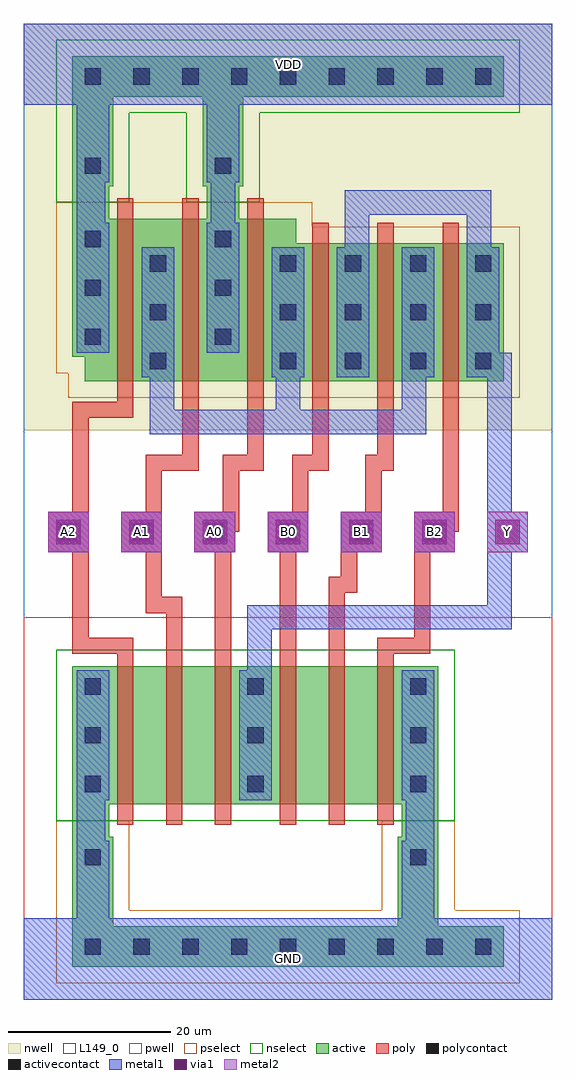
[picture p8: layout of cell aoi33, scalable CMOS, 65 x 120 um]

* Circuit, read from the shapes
.subckt aoi33 A0 A1 A2 B0 B1 B2 GND VDD Y
M1 n1 A2 GND GND nfet w=17u l=2u
M2 n2 A1 n1 GND nfet w=17u l=2u
M3 Y A0 n2 GND nfet w=17u l=2u
M4 n3 B0 Y GND nfet w=17u l=2u
M5 n4 B1 n3 GND nfet w=17u l=2u
M6 GND B2 n4 GND nfet w=17u l=2u
M7 n5 A2 VDD VDD pfet w=20u l=2u
M8 VDD A1 n5 VDD pfet w=20u l=2u
M9 n5 A0 VDD VDD pfet w=20u l=2u
M10 Y B0 n5 VDD pfet w=17u l=2u
M11 n5 B1 Y VDD pfet w=17u l=2u
M12 Y B2 n5 VDD pfet w=17u l=2u
.ends

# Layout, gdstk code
import gdstk
lib = gdstk.Library(unit=1e-6, precision=1e-09)
def R(c, l, rs):  # rectangles x0, y0, x1, y1
    for r in rs: c.add(gdstk.rectangle(r[:2], r[2:], *l))
def A(c, l, x, y, w, h, nx, ny, dx, dy):  # array of equal rectangles
    R(c, l, [(x+i*dx, y+j*dy, x+i*dx+w, y+j*dy+h) for i in range(nx) for j in range(ny)])
def P(c, l, *ps):  # polygons
    for p in ps: c.add(gdstk.Polygon(p, *l))
pwell = (41, 0)
nwell = (42, 0)
active = (43, 0)
pselect = (44, 0)
nselect = (45, 0)
poly = (46, 0)
polycontact = (47, 0)
activecontact = (48, 0)
metal1 = (49, 0)
via1 = (50, 0)
metal2 = (51, 0)
L149_0 = (149, 0)

via = lib.new_cell('via')
R(via, metal1, [(-2.5,-2.5,2.5,2.5)])
R(via, via1, [(-1.5,-1.5,1.5,1.5)])
R(via, metal2, [(-2.5,-2.5,2.5,2.5)])

aoi33 = lib.new_cell('aoi33')
R(aoi33, pwell, [(0,0,65,47), (0,18,57,47)])
R(aoi33, nwell, [(0,70,65,120)])
P(aoi33, nwell, [(65,70),(65,99),(39.5,99),(39.5,102),(0,102),(0,73),(1.5,73),(1.5,70)])
R(aoi33, active, [(6,4,59,9), (6,9,11,20), (46,9,51,20), (6,20,10.5,24), (46.5,20,51,24), (6,24,11.5,41), (6,24,51,41), (45.5,24,51,41), (53.5,76,59,93), (6,96,10.5,100), (22.5,96,26.5,100), (6,100,11,111), (22,100,27,111), (6,111,59,116)])
P(aoi33, active, [(11.5,76),(11.5,96),(6,96),(6,79),(7.5,79),(7.5,76)],
  [(59,76),(59,93),(33.5,93),(33.5,96),(6,96),(6,79),(7.5,79),(7.5,76)])
R(aoi33, pselect, [(4,2,61,11), (4,11,13,22), (44,11,53,22)])
P(aoi33, pselect, [(61,74),(61,95),(35.5,95),(35.5,98),(4,98),(4,77),(5.5,77),(5.5,74)])
R(aoi33, nselect, [(4,22,53,43), (4,98,13,109), (20,98,29,109), (4,109,61,118)])
A(aoi33, poly, 11.5, 21.5, 2, 2.5, 3, 2, 6, 19.5)
A(aoi33, poly, 31.5, 21.5, 2, 2.5, 3, 2, 6, 19.5)
A(aoi33, poly, 11.5, 24, 2, 17, 3, 1, 6, 0)
A(aoi33, poly, 31.5, 24, 2, 17, 3, 1, 6, 0)
A(aoi33, poly, 3, 55, 5, 5, 6, 1, 9, 0)
A(aoi33, poly, 11.5, 73.5, 2, 2.5, 6, 1, 8, 0)
A(aoi33, poly, 11.5, 76, 2, 20, 3, 1, 8, 0)
A(aoi33, poly, 35.5, 76, 2, 17, 3, 1, 8, 0)
A(aoi33, poly, 35.5, 93, 2, 2.5, 3, 1, 8, 0)
A(aoi33, poly, 11.5, 96, 2, 2.5, 3, 1, 8, 0)
A(aoi33, polycontact, 4.5, 56.5, 2, 2, 6, 1, 9, 0)
A(aoi33, activecontact, 7.5, 5.5, 2, 2, 9, 2, 6, 107)
A(aoi33, activecontact, 7.5, 25.5, 2, 2, 3, 3, 20, 6)
A(aoi33, activecontact, 15.5, 77.5, 2, 2, 1, 3, 0, 6)
A(aoi33, activecontact, 31.5, 77.5, 2, 2, 4, 3, 8, 6)
A(aoi33, activecontact, 7.5, 80.5, 2, 2, 1, 3, 0, 6)
A(aoi33, activecontact, 23.5, 80.5, 2, 2, 1, 3, 0, 6)
R(aoi33, activecontact, [(7.5,16.5,9.5,18.5), (47.5,16.5,49.5,18.5), (7.5,101.5,9.5,103.5), (23.5,101.5,25.5,103.5)])
A(aoi33, metal1, 6.5, 24.5, 4, 16, 3, 1, 20, 0)
A(aoi33, metal1, 21.5, 55.5, 4, 4, 4, 1, 9, 0)
A(aoi33, metal1, 30.5, 76.5, 4, 16, 4, 1, 8, 0)
R(aoi33, metal1, [(0,0,65,10), (6.5,10,10.5,19.5), (46.5,10,50.5,19.5), (6.5,19.5,10,24.5), (47,19.5,50.5,24.5), (3.5,55.5,7.5,59.5), (14.5,76.5,18.5,92.5), (6.5,79.5,10.5,95.5), (22.5,79.5,26.5,95.5), (6.5,95.5,10,100.5), (23,95.5,26,100.5), (6.5,100.5,10.5,110), (22.5,100.5,26.5,110), (0,110,65,120)])
A(aoi33, metal2, 3, 55, 5, 5, 7, 1, 9, 0)
R(aoi33, L149_0, [(0,0,65,120)])
aoi33.add(gdstk.FlexPath([(58.5,60),(58.5,79.5)], 3, ends="flush", simple_path=True, layer=49, datatype=0))  # metal1
aoi33.add(gdstk.FlexPath([(31,71),(17,71),(17,76.5)], 3, ends="flush", simple_path=True, layer=49, datatype=0))  # metal1
aoi33.add(gdstk.FlexPath([(48,76.5),(48,71),(32.5,71),(32.5,76.5)], 3, ends="flush", simple_path=True, layer=49, datatype=0))  # metal1
aoi33.add(gdstk.FlexPath([(56,92.5),(56,98),(41,98),(41,92.5)], 3, ends="flush", simple_path=True, layer=49, datatype=0))  # metal1
aoi33.add(gdstk.FlexPath([(58.5,55),(58.5,47),(29,47),(29,40.5)], 3, ends="flush", simple_path=True, layer=49, datatype=0))  # metal1
aoi33.add(gdstk.FlexPath([(20.5,73.5),(20.5,66),(16,66),(16,60)], 2, ends="flush", simple_path=True, layer=46, datatype=0))  # poly
aoi33.add(gdstk.FlexPath([(32.5,43.5),(32.5,55)], 2, ends="flush", simple_path=True, layer=46, datatype=0))  # poly
aoi33.add(gdstk.FlexPath([(16,55),(16,48.5),(18.5,48.5),(18.5,43.5)], 2, ends="flush", simple_path=True, layer=46, datatype=0))  # poly
aoi33.add(gdstk.FlexPath([(52.5,73.5),(52.5,57.5)], 2, ends="flush", simple_path=True, layer=46, datatype=0))  # poly
aoi33.add(gdstk.FlexPath([(36.5,73.5),(36.5,66),(34,66),(34,60)], 2, ends="flush", simple_path=True, layer=46, datatype=0))  # poly
aoi33.add(gdstk.FlexPath([(24.5,43.5),(24.5,55)], 2, ends="flush", simple_path=True, layer=46, datatype=0))  # poly
aoi33.add(gdstk.FlexPath([(49,55),(49,43.5),(43.5,43.5)], 2, ends="flush", simple_path=True, layer=46, datatype=0))  # poly
aoi33.add(gdstk.FlexPath([(44.5,73.5),(44.5,66),(43,66),(43,60)], 2, ends="flush", simple_path=True, layer=46, datatype=0))  # poly
aoi33.add(gdstk.FlexPath([(7,55),(7,43.5),(13.5,43.5)], 2, ends="flush", simple_path=True, layer=46, datatype=0))  # poly
aoi33.add(gdstk.FlexPath([(28.5,73.5),(28.5,66),(25.5,66),(25.5,57.5)], 2, ends="flush", simple_path=True, layer=46, datatype=0))  # poly
aoi33.add(gdstk.FlexPath([(13.5,72.5),(7,72.5),(7,60)], 2, ends="flush", simple_path=True, layer=46, datatype=0))  # poly
aoi33.add(gdstk.FlexPath([(38.5,43.5),(38.5,51),(40,51),(40,55)], 2, ends="flush", simple_path=True, layer=46, datatype=0))  # poly
aoi33.add(gdstk.Reference(via, (23.5,57.5)))
aoi33.add(gdstk.Reference(via, (32.5,57.5)))
aoi33.add(gdstk.Reference(via, (14.5,57.5)))
aoi33.add(gdstk.Reference(via, (50.5,57.5)))
aoi33.add(gdstk.Reference(via, (5.5,57.5)))
aoi33.add(gdstk.Reference(via, (41.5,57.5)))
aoi33.add(gdstk.Reference(via, (59.5,57.5)))
aoi33.add(gdstk.Label('GND', (32.5,5), layer=2, texttype=0))
aoi33.add(gdstk.Label('VDD', (32.5,115), layer=2, texttype=0))
aoi33.add(gdstk.Label('A2', (5.5,57.5), layer=3, texttype=0))
aoi33.add(gdstk.Label('A1', (14.5,57.5), layer=3, texttype=0))
aoi33.add(gdstk.Label('A0', (23.5,57.5), layer=3, texttype=0))
aoi33.add(gdstk.Label('B0', (32.5,57.5), layer=3, texttype=0))
aoi33.add(gdstk.Label('B1', (41.5,57.5), layer=3, texttype=0))
aoi33.add(gdstk.Label('B2', (50.5,57.5), layer=3, texttype=0))
aoi33.add(gdstk.Label('Y', (59.5,57.5), layer=3, texttype=0))
aoi33.add(gdstk.Label('GND', (32.5,5), layer=2, texttype=0))
aoi33.add(gdstk.Label('VDD', (32.5,115), layer=2, texttype=0))
aoi33.add(gdstk.Label('A2', (5.5,57.5), layer=3, texttype=0))
aoi33.add(gdstk.Label('A1', (14.5,57.5), layer=3, texttype=0))
aoi33.add(gdstk.Label('A0', (23.5,57.5), layer=3, texttype=0))
aoi33.add(gdstk.Label('B0', (32.5,57.5), layer=3, texttype=0))
aoi33.add(gdstk.Label('B1', (41.5,57.5), layer=3, texttype=0))
aoi33.add(gdstk.Label('B2', (50.5,57.5), layer=3, texttype=0))
aoi33.add(gdstk.Label('Y', (59.5,57.5), layer=3, texttype=0))

lib.write_gds('aoi33.gds')
